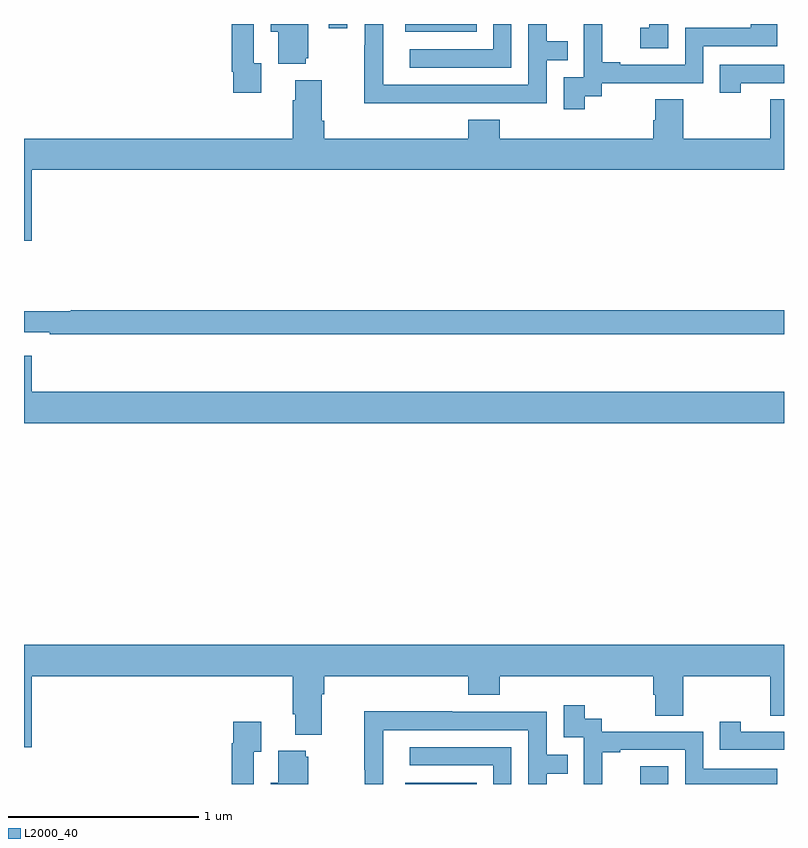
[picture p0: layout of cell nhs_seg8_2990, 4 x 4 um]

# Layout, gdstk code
import gdstk
lib = gdstk.Library(unit=1e-6, precision=1e-09)
def R(c, l, rs):  # rectangles x0, y0, x1, y1
    for r in rs: c.add(gdstk.rectangle(r[:2], r[2:], *l))
def P(c, l, *ps):  # polygons
    for p in ps: c.add(gdstk.Polygon(p, *l))
L2000_40 = (2000, 40)

nhs_seg8_2990 = lib.new_cell('nhs_seg8_2990')
R(nhs_seg8_2990, L2000_40, [(299.006,1147.9,299.384,1147.906), (300.243,1147.9,300.39,1147.993), (299.006,1151.858,299.384,1151.9), (298.605,1151.877,298.701,1151.9)])
P(nhs_seg8_2990, L2000_40, [(299.95,1151.521),(300.042,1151.521),(300.042,1151.589),(300.576,1151.589),(300.576,1151.784),(300.965,1151.784),(300.965,1151.9),(300.825,1151.9),(300.825,1151.88),(300.48,1151.88),(300.48,1151.685),(300.139,1151.685),(300.139,1151.698),(300.044,1151.698),(300.044,1151.9),(299.945,1151.9),(299.945,1151.849),(299.946,1151.849),(299.946,1151.619),(299.841,1151.619),(299.841,1151.451),(299.95,1151.451)],
  [(299.255,1151.484),(299.751,1151.484),(299.751,1151.709),(299.861,1151.709),(299.861,1151.81),(299.751,1151.81),(299.751,1151.9),(299.655,1151.9),(299.655,1151.58),(298.89,1151.58),(298.89,1151.9),(298.794,1151.9),(298.794,1151.789),(298.792,1151.789),(298.792,1151.483),(299.255,1151.483)],
  [(298.249,1151.694),(298.209,1151.694),(298.209,1151.9),(298.093,1151.9),(298.093,1151.65),(298.101,1151.65),(298.101,1151.538),(298.249,1151.538)],
  [(299.565,1151.9),(299.469,1151.9),(299.469,1151.766),(299.031,1151.766),(299.031,1151.67),(299.565,1151.67)],
  [(298.484,1151.721),(298.495,1151.721),(298.495,1151.9),(298.298,1151.9),(298.298,1151.858),(298.337,1151.858),(298.337,1151.69),(298.484,1151.69)],
  [(300.39,1151.9),(300.292,1151.9),(300.292,1151.881),(300.243,1151.881),(300.243,1151.772),(300.39,1151.772)],
  [(300.772,1151.589),(301,1151.589),(301,1151.685),(300.661,1151.685),(300.661,1151.538),(300.772,1151.538)],
  [(297.04,1151.132),(301,1151.132),(301,1151.504),(300.928,1151.504),(300.928,1151.296),(300.471,1151.296),(300.471,1151.504),(300.323,1151.504),(300.323,1151.394),(300.311,1151.394),(300.311,1151.296),(299.504,1151.296),(299.504,1151.395),(299.339,1151.395),(299.339,1151.296),(298.58,1151.296),(298.58,1151.392),(298.567,1151.392),(298.567,1151.605),(298.427,1151.605),(298.427,1151.498),(298.415,1151.498),(298.415,1151.296),(297,1151.296),(297,1150.758),(297.04,1150.758)],
  [(301,1150.394),(297.245,1150.394),(297.245,1150.387),(297,1150.387),(297,1150.278),(297.136,1150.278),(297.136,1150.266),(301,1150.266)],
  [(301,1149.964),(297.04,1149.964),(297.04,1150.153),(297,1150.153),(297,1149.8),(301,1149.8)],
  [(297.04,1148.468),(298.415,1148.468),(298.415,1148.266),(298.427,1148.266),(298.427,1148.159),(298.567,1148.159),(298.567,1148.372),(298.58,1148.372),(298.58,1148.468),(299.339,1148.468),(299.339,1148.369),(299.504,1148.369),(299.504,1148.468),(300.311,1148.468),(300.311,1148.37),(300.323,1148.37),(300.323,1148.26),(300.471,1148.26),(300.471,1148.468),(300.928,1148.468),(300.928,1148.26),(301,1148.26),(301,1148.632),(297,1148.632),(297,1148.094),(297.04,1148.094)],
  [(300.044,1148.067),(300.139,1148.067),(300.139,1148.079),(300.48,1148.079),(300.48,1147.9),(300.965,1147.9),(300.965,1147.98),(300.576,1147.98),(300.576,1148.175),(300.042,1148.175),(300.042,1148.244),(299.95,1148.244),(299.95,1148.314),(299.841,1148.314),(299.841,1148.145),(299.946,1148.145),(299.946,1147.916),(299.945,1147.916),(299.945,1147.9),(300.044,1147.9)],
  [(298.89,1148.184),(299.655,1148.184),(299.655,1147.9),(299.751,1147.9),(299.751,1147.954),(299.861,1147.954),(299.861,1148.055),(299.751,1148.055),(299.751,1148.28),(299.255,1148.28),(299.255,1148.282),(298.792,1148.282),(298.792,1147.975),(298.794,1147.975),(298.794,1147.9),(298.89,1147.9)],
  [(298.209,1148.071),(298.249,1148.071),(298.249,1148.227),(298.101,1148.227),(298.101,1148.114),(298.093,1148.114),(298.093,1147.9),(298.209,1147.9)],
  [(301,1148.175),(300.772,1148.175),(300.772,1148.227),(300.661,1148.227),(300.661,1148.079),(301,1148.079)],
  [(299.565,1148.094),(299.031,1148.094),(299.031,1147.998),(299.469,1147.998),(299.469,1147.9),(299.565,1147.9)],
  [(298.495,1148.043),(298.484,1148.043),(298.484,1148.074),(298.337,1148.074),(298.337,1147.906),(298.298,1147.906),(298.298,1147.9),(298.495,1147.9)])

lib.write_gds('nhs_seg8_2990.gds')
